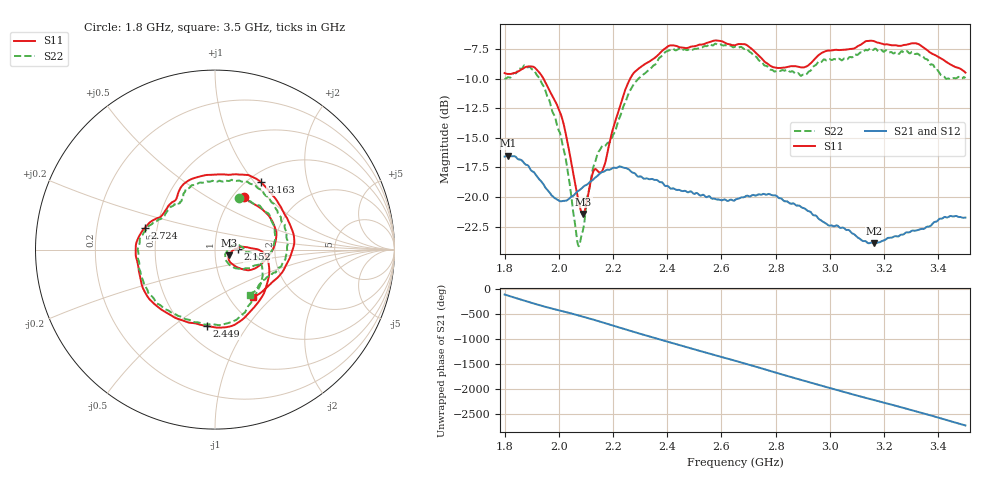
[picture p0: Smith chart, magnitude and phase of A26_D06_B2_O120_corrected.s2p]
! Created with skrf 1.9.0 (http://scikit-rf.org).
# Hz S RI R 50.0
!freq ReS11 ImS11 ReS21 ImS21 ReS12 ImS12 ReS22 ImS22
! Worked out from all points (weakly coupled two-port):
!   1601 points, 1.8 GHz to 3.5 GHz, reference 50 ohm
!   highest |S21| = -16.51 dB at 1.812 GHz (marker M1); lowest = -23.9 dB at 3.164 GHz (marker M2)
!   lowest |S11| = -21.4 dB at 2.09 GHz (marker M3), VSWR 1.19, Z = 58.5 - j3.67 ohm
!   |S11| at or under -10 dB: 1.943 GHz to 2.263 GHz (319.9 MHz wide, 15.2 % of centre)
!   |S22| runs from -24.1 to -7.1 dB; largest |S21 - S12| = 0.0025
!   S11 on the Smith chart (normalised r, x): 1.8 GHz: 1.12, +0.74; 2.152 GHz: 1.29, +0.01; 2.449 GHz: 0.64, -0.67; 2.724 GHz: 0.43, +0.13; 3.163 GHz: 1.15, +1.08; 3.5 GHz: 1.28, -0.75
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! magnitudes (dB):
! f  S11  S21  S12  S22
! 1.8 GHz  -9.5  -16.6  -16.6  -10.0
! 1.812 GHz  -9.6  -16.5  -16.5  -9.9
! 1.88 GHz  -9.0  -17.3  -17.3  -9.0
! 1.942 GHz  -10.0  -18.9  -18.9  -10.6
! 2.013 GHz  -13.4  -20.3  -20.3  -15.4
! 2.068 GHz  -19.7  -19.5  -19.5  -23.7
! 2.084 GHz  -21.3  -19.3  -19.2  -23.2
! 2.09 GHz  -21.4  -19.1  -19.2  -22.7
! 2.127 GHz  -17.8  -18.5  -18.5  -17.5
! 2.152 GHz  -17.9  -18.0  -18.0  -16.0
! 2.196 GHz  -14.5  -17.6  -17.6  -14.9
! 2.261 GHz  -10.1  -17.7  -17.7  -11.1
! 2.367 GHz  -8.0  -18.6  -18.6  -8.4
! 2.449 GHz  -7.4  -19.4  -19.4  -7.6
! 2.65 GHz  -7.2  -20.2  -20.2  -7.3
! 2.724 GHz  -7.8  -19.9  -19.8  -8.1
! 2.799 GHz  -9.1  -19.9  -19.9  -9.4
! 2.934 GHz  -8.6  -21.4  -21.4  -9.2
! 3.163 GHz  -6.8  -23.9  -23.9  -7.5
! 3.164 GHz  -6.9  -23.9  -23.9  -7.5
! 3.217 GHz  -7.1  -23.4  -23.4  -7.8
! 3.5 GHz  -9.5  -21.7  -21.7  -10.0
